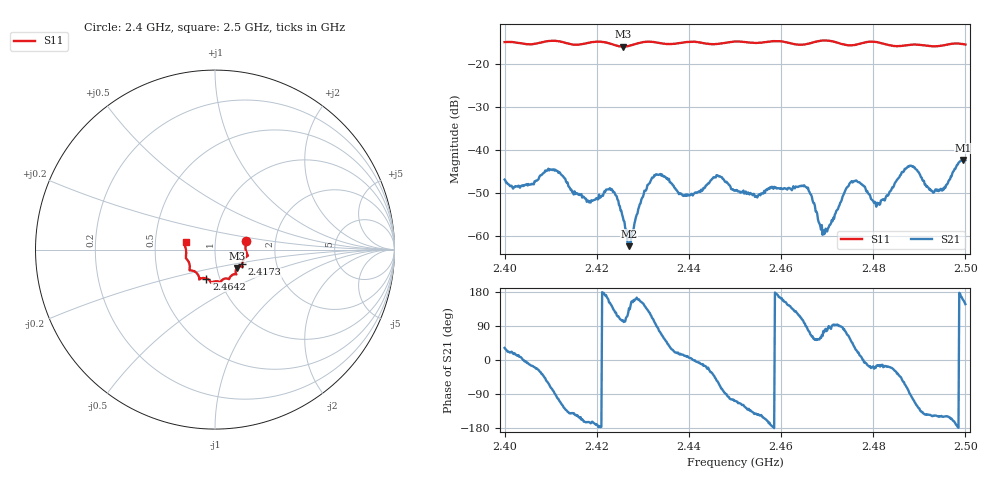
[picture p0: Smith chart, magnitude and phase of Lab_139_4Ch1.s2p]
# Hz S RI R 50
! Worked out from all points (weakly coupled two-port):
!   601 points, 2.4 GHz to 2.5 GHz, reference 50 ohm
!   highest |S21| = -42.33 dB at 2.4995 GHz (marker M1); lowest = -62.4 dB at 2.427 GHz (marker M2)
!   lowest |S11| = -15.9 dB at 2.4257 GHz (marker M3), VSWR 1.38, Z = 62.4 - j13.1 ohm
!   |S11| at or under -10 dB: start of sweep to end of sweep
!   S12 and S22 are empty: the file has one direction only
!   S11 on the Smith chart (normalised r, x): 2.4 GHz: 1.41, +0.15; 2.4173 GHz: 1.34, -0.23; 2.4642 GHz: 0.86, -0.29; 2.5 GHz: 0.72, +0.06
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2.4e9  0.1733 0.0498  0.00385 0.00239  0 0  0 0
2.4105e9  0.1839 -0.0334  0.000921 -0.00587  0 0  0 0
2.416667e9  0.1527 -0.075  -0.00284 -0.00117  0 0  0 0
2.417333e9  0.1521 -0.0823  -0.00265 -0.000825  0 0  0 0
2.423167e9  0.1439 -0.0933  -0.00288 0.00203  0 0  0 0
2.425667e9  0.1224 -0.1026  -0.000425 0.0016  0 0  0 0
2.427e9  0.1162 -0.1145  -0.000554 0.000522  0 0  0 0
2.430167e9  0.1182 -0.1366  -0.00256 0.00162  0 0  0 0
2.433333e9  0.1128 -0.1365  0.000601 0.00509  0 0  0 0
2.439e9  0.081 -0.1597  0.00292 0.000567  0 0  0 0
2.446333e9  0.0448 -0.1661  0.0026 -0.00431  0 0  0 0
2.45e9  0.0298 -0.1809  -0.00104 -0.00324  0 0  0 0
2.464167e9  -0.0481 -0.1611  -0.00149 0.00353  0 0  0 0
2.466667e9  -0.0762 -0.1599  0.00134 0.00255  0 0  0 0
2.4695e9  -0.0877 -0.1668  0.000201 0.00105  0 0  0 0
2.475333e9  -0.11 -0.1237  0.00298 0.00316  0 0  0 0
2.481e9  -0.1421 -0.1093  0.00227 -0.000636  0 0  0 0
2.483333e9  -0.1408 -0.0894  0.00288 -0.000923  0 0  0 0
2.488e9  -0.1602 -0.0509  1.17e-05 -0.00654  0 0  0 0
2.494833e9  -0.1638 0.00843  -0.00287 -0.00181  0 0  0 0
2.4995e9  -0.1664 0.0388  -0.00711 0.0028  0 0  0 0
2.5e9  -0.1636 0.0421  -0.00641 0.0041  0 0  0 0
